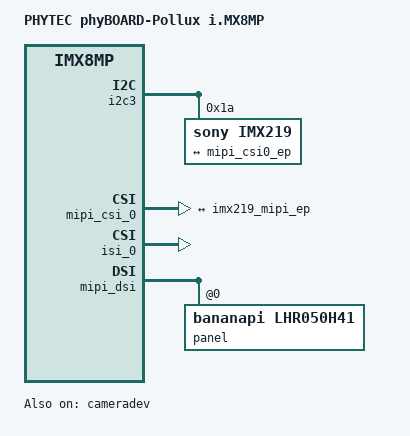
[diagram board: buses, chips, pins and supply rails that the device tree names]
// SPDX-License-Identifier: GPL-2.0
/*
 * Copyright (C) 2020 PHYTEC Messtechnik GmbH
 * Author: Teresa Remmet <t.remmet@phytec.de>
 */

/dts-v1/;

#include "imx8mp-phycore-som.dtsi"
#include "imx8mp-phyboard-pollux.dtsi"
#include "imx8mp-phyboard-pollux-peb-av-010.dtsi"
#include "imx8mp-phyboard-pollux-peb-wlbt-05.dtsi"

/ {
	model = "PHYTEC phyBOARD-Pollux i.MX8MP";
	compatible = "phytec,imx8mp-phyboard-pollux-rdk",
		     "phytec,imx8mp-phycore-som", "fsl,imx8mp";

};

&cameradev {
	status = "okay";
};

&flash0 {
	status = "okay";
};

&i2c3 {
	/delete-node/vm016;
	imx219: camera@1a {
		compatible = "sony,imx219";
		reg = <0x1a>;
		clocks = <&cam_clk_24mhz>;
		assigned-clocks = <&cam_clk_24mhz>;
		csi_id = <0>;
		assigned-clock-rates = <24000000>;
		clock-names = "ext";
		status = "disabled";

		port {
			imx219_mipi_ep: endpoint {
				remote-endpoint = <&mipi_csi0_ep>;
				data-lanes = <1 2>;
				clock-noncontinuous;
				link-frequencies = /bits/ 64 <456000000>;
			};
		};
	};
};

&mipi_csi_0 {
	#address-cells = <1>;
	#size-cells = <0>;
	status = "okay";
	port@0 {
		reg = <0>;
		mipi_csi0_ep: endpoint {
			remote-endpoint = <&imx219_mipi_ep>;
			data-lanes = <2>;
			csis-hs-settle = <13>;
			csis-clk-settle = <2>;
			csis-wclk;
		};
	};
};

&isi_0 {
	status = "okay";

	cap_device {
		status = "okay";
	};
};

&imx219 {
	status = "okay";
};

&mipi_dsi {
	panel@0 {
		compatible = "bananapi,lhr050h41";
		reg = <0>;
		/* pinctrl-0 = <&pinctrl_mipi_dsi_en>; */
		/* reset-gpio = <&gpio1 8 GPIO_ACTIVE_LOW>; */
		dsi-lanes = <4>;
		video-mode = <2>;	/* 0: burst mode
					 * 1: non-burst mode with sync event
					 * 2: non-burst mode with sync pulse
					 */
		panel-width-mm = <62>;
		panel-height-mm = <110>;
		status = "okay";
	};
};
